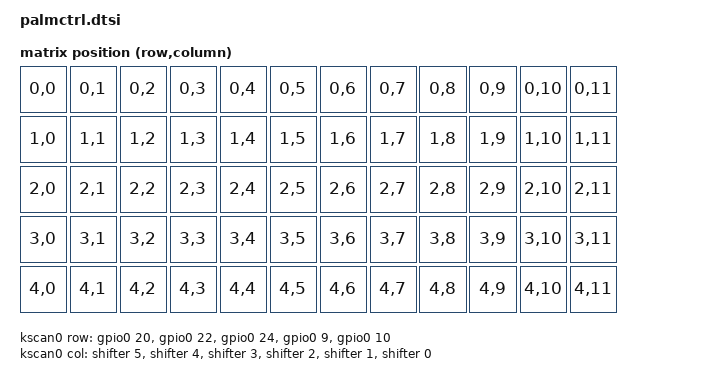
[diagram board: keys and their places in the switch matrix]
#include <dt-bindings/zmk/matrix_transform.h>
#include "palmctrl-layouts.dtsi"

// Tell VIK that there is 1 other device on the SPI bus (the shift register).
#define VIK_SPI_REG_START 1
// Pulled out to an external variable so VIK can find the SPI bus.
#define VIK_SPI_CS_PREFIX <&gpio0 4 GPIO_ACTIVE_LOW>

// Configure SPI1 for the shift register (column driver)
&spi1 {
    status = "okay";
    cs-gpios = VIK_SPI_CS_PREFIX;

    shifter: 595@0 {
        compatible = "zmk,gpio-595";
        status = "okay";
        gpio-controller;
        spi-max-frequency = <200000>;
        reg = <0>;
        ngpios = <8>;
        #gpio-cells = <2>;
    };
};

/ {
    chosen {
        zmk,kscan = &kscan0;
        zmk,physical-layout = &physical_layout0;
    };

    default_transform: keymap_transform_0 {
        compatible = "zmk,matrix-transform";
        columns = <12>;
        rows = <5>;
        // 60 keys total: 5 rows x 6 cols per side
        map = <
            RC(0,0) RC(0,1) RC(0,2) RC(0,3) RC(0,4) RC(0,5)     RC(0,6) RC(0,7) RC(0,8) RC(0,9) RC(0,10) RC(0,11)
            RC(1,0) RC(1,1) RC(1,2) RC(1,3) RC(1,4) RC(1,5)     RC(1,6) RC(1,7) RC(1,8) RC(1,9) RC(1,10) RC(1,11)
            RC(2,0) RC(2,1) RC(2,2) RC(2,3) RC(2,4) RC(2,5)     RC(2,6) RC(2,7) RC(2,8) RC(2,9) RC(2,10) RC(2,11)
            RC(3,0) RC(3,1) RC(3,2) RC(3,3) RC(3,4) RC(3,5)     RC(3,6) RC(3,7) RC(3,8) RC(3,9) RC(3,10) RC(3,11)
            RC(4,0) RC(4,1) RC(4,2) RC(4,3) RC(4,4) RC(4,5)     RC(4,6) RC(4,7) RC(4,8) RC(4,9) RC(4,10) RC(4,11)
        >;
    };

    kscan0: kscan0 {
        compatible = "zmk,kscan-gpio-matrix";
        // Lemon Wireless uses shift register for columns, must use "col2row" even for ROW2COL wiring
        diode-direction = "col2row";
        wakeup-source;

        // Lemon Wireless row pins (R1-R5) - nRF52840 GPIO pins
        // R1=P0.20, R2=P0.22, R3=P0.24, R4=P0.9, R5=P0.10
        row-gpios
        = <&gpio0 20 (GPIO_ACTIVE_LOW | GPIO_PULL_UP)>
        , <&gpio0 22 (GPIO_ACTIVE_LOW | GPIO_PULL_UP)>
        , <&gpio0 24 (GPIO_ACTIVE_LOW | GPIO_PULL_UP)>
        , <&gpio0 9 (GPIO_ACTIVE_LOW | GPIO_PULL_UP)>
        , <&gpio0 10 (GPIO_ACTIVE_LOW | GPIO_PULL_UP)>
        ;

        // Lemon Wireless column pins (C1-C6) - via 74HC595 shift register (reversed order)
        col-gpios
        = <&shifter 5 GPIO_ACTIVE_LOW>
        , <&shifter 4 GPIO_ACTIVE_LOW>
        , <&shifter 3 GPIO_ACTIVE_LOW>
        , <&shifter 2 GPIO_ACTIVE_LOW>
        , <&shifter 1 GPIO_ACTIVE_LOW>
        , <&shifter 0 GPIO_ACTIVE_LOW>
        ;
    };
};

&physical_layout0 {
    transform = <&default_transform>;
};
